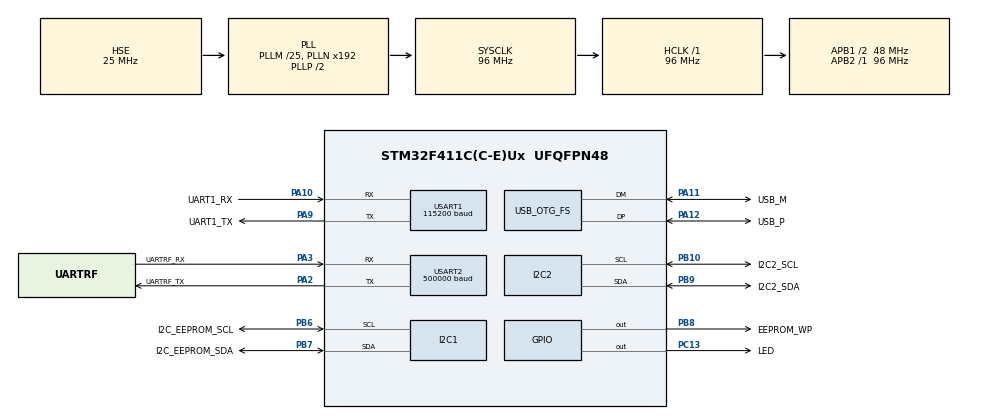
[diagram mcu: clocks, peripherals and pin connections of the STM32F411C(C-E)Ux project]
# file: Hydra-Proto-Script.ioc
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Dma.Request0=USART1_RX
Dma.Request1=USART1_TX
Dma.Request2=USART2_TX
Dma.Request3=USART2_RX
Dma.USART1_RX.0.Direction=DMA_PERIPH_TO_MEMORY
Dma.USART1_RX.0.FIFOMode=DMA_FIFOMODE_DISABLE
Dma.USART1_RX.0.Instance=DMA2_Stream2
Dma.USART1_RX.0.MemDataAlignment=DMA_MDATAALIGN_BYTE
Dma.USART1_RX.0.MemInc=DMA_MINC_ENABLE
Dma.USART1_RX.0.Mode=DMA_CIRCULAR
Dma.USART1_RX.0.PeriphDataAlignment=DMA_PDATAALIGN_BYTE
Dma.USART1_RX.0.PeriphInc=DMA_PINC_DISABLE
Dma.USART1_RX.0.Priority=DMA_PRIORITY_LOW
Dma.USART1_TX.1.Direction=DMA_MEMORY_TO_PERIPH
Dma.USART1_TX.1.FIFOMode=DMA_FIFOMODE_DISABLE
Dma.USART1_TX.1.Instance=DMA2_Stream7
Dma.USART1_TX.1.MemDataAlignment=DMA_MDATAALIGN_BYTE
Dma.USART1_TX.1.MemInc=DMA_MINC_ENABLE
Dma.USART1_TX.1.Mode=DMA_NORMAL
Dma.USART1_TX.1.PeriphDataAlignment=DMA_PDATAALIGN_BYTE
Dma.USART1_TX.1.PeriphInc=DMA_PINC_DISABLE
Dma.USART1_TX.1.Priority=DMA_PRIORITY_LOW
Dma.USART2_RX.3.Direction=DMA_PERIPH_TO_MEMORY
Dma.USART2_RX.3.FIFOMode=DMA_FIFOMODE_DISABLE
Dma.USART2_RX.3.Instance=DMA1_Stream5
Dma.USART2_RX.3.MemDataAlignment=DMA_MDATAALIGN_BYTE
Dma.USART2_RX.3.MemInc=DMA_MINC_ENABLE
Dma.USART2_RX.3.Mode=DMA_CIRCULAR
Dma.USART2_RX.3.PeriphDataAlignment=DMA_PDATAALIGN_BYTE
Dma.USART2_RX.3.PeriphInc=DMA_PINC_DISABLE
Dma.USART2_RX.3.Priority=DMA_PRIORITY_LOW
Dma.USART2_TX.2.Direction=DMA_MEMORY_TO_PERIPH
Dma.USART2_TX.2.FIFOMode=DMA_FIFOMODE_DISABLE
Dma.USART2_TX.2.Instance=DMA1_Stream6
Dma.USART2_TX.2.MemDataAlignment=DMA_MDATAALIGN_BYTE
Dma.USART2_TX.2.MemInc=DMA_MINC_ENABLE
Dma.USART2_TX.2.Mode=DMA_NORMAL
Dma.USART2_TX.2.PeriphDataAlignment=DMA_PDATAALIGN_BYTE
Dma.USART2_TX.2.PeriphInc=DMA_PINC_DISABLE
Dma.USART2_TX.2.Priority=DMA_PRIORITY_LOW
Mcu.Family=STM32F4
Mcu.Name=STM32F411C(C-E)Ux
Mcu.Package=UFQFPN48
NVIC.DMA1_Stream5_IRQn=true\:0\:0\:false\:false\:true\:false\:true\:true
NVIC.DMA1_Stream6_IRQn=true\:0\:0\:false\:false\:true\:false\:true\:true
NVIC.DMA2_Stream2_IRQn=true\:5\:0\:true\:false\:true\:false\:true\:true
NVIC.DMA2_Stream7_IRQn=true\:5\:0\:true\:false\:true\:false\:true\:true
NVIC.OTG_FS_IRQn=true\:5\:0\:true\:false\:true\:false\:true\:true
NVIC.PriorityGroup=NVIC_PRIORITYGROUP_4
NVIC.TIM2_IRQn=true\:15\:0\:false\:false\:true\:false\:true\:true
NVIC.TimeBase=TIM2_IRQn
NVIC.TimeBaseIP=TIM2
NVIC.USART1_IRQn=true\:6\:0\:true\:false\:true\:true\:true\:true
NVIC.USART2_IRQn=true\:6\:0\:true\:false\:true\:true\:true\:true
PA10.GPIO_Label=UART1_RX
PA10.Mode=Asynchronous
PA10.Signal=USART1_RX
PA11.GPIO_Label=USB_M
PA11.Mode=Device_Only
PA11.Signal=USB_OTG_FS_DM
PA12.GPIO_Label=USB_P
PA12.Mode=Device_Only
PA12.Signal=USB_OTG_FS_DP
PA2.GPIO_Label=UARTRF_TX
PA2.Mode=Asynchronous
PA2.Signal=USART2_TX
PA3.GPIO_Label=UARTRF_RX
PA3.Mode=Asynchronous
PA3.Signal=USART2_RX
PA9.GPIO_Label=UART1_TX
PA9.Mode=Asynchronous
PA9.Signal=USART1_TX
PB10.GPIO_Label=I2C2_SCL
PB10.Mode=I2C
PB10.Signal=I2C2_SCL
PB6.GPIO_Label=I2C_EEPROM_SCL
PB6.Mode=I2C
PB6.Signal=I2C1_SCL
PB7.GPIO_Label=I2C_EEPROM_SDA
PB7.Mode=I2C
PB7.Signal=I2C1_SDA
PB8.GPIO_Label=EEPROM_WP
PB8.Signal=GPIO_Output
PB9.GPIO_Label=I2C2_SDA
PB9.Mode=I2C
PB9.Signal=I2C2_SDA
PC13-ANTI_TAMP.GPIO_Label=LED
PC13-ANTI_TAMP.Signal=GPIO_Output
PH0\ -\ OSC_IN.Mode=HSE-External-Oscillator
PH0\ -\ OSC_IN.Signal=RCC_OSC_IN
PH1\ -\ OSC_OUT.Mode=HSE-External-Oscillator
PH1\ -\ OSC_OUT.Signal=RCC_OSC_OUT
ProjectManager.HeapSize=0x200
ProjectManager.StackSize=0x400
ProjectManager.TargetToolchain=STM32CubeIDE
RCC.48MHZClocksFreq_Value=48000000
RCC.AHBFreq_Value=96000000
RCC.APB1CLKDivider=RCC_HCLK_DIV2
RCC.APB1Freq_Value=48000000
RCC.APB1TimFreq_Value=96000000
RCC.APB2Freq_Value=96000000
RCC.APB2TimFreq_Value=96000000
RCC.CortexFreq_Value=96000000
RCC.HCLKFreq_Value=96000000
RCC.HSE_VALUE=25000000
RCC.HSI_VALUE=16000000
RCC.LSE_VALUE=32768
RCC.PLLM=25
RCC.SYSCLKFreq_VALUE=96000000
RCC.SYSCLKSource=RCC_SYSCLKSOURCE_PLLCLK
RCC.VCOOutputFreq_Value=192000000
TIM5.Prescaler=95
USART1.BaudRate=115200
USART1.VirtualMode=VM_ASYNC
USART2.BaudRate=500000
USART2.VirtualMode=VM_ASYNC
USB_DEVICE.CLASS_NAME_FS=CDC
USB_DEVICE.PRODUCT_STRING_CDC_FS=Pleiades-Node
USB_DEVICE.VirtualMode=Cdc
USB_DEVICE.VirtualModeFS=Cdc_FS
USB_OTG_FS.VirtualMode=Device_Only
VP_SYS_VS_tim2.Mode=TIM2
VP_TIM5_VS_ClockSourceINT.Mode=Internal
VP_USB_DEVICE_VS_USB_DEVICE_CDC_FS.Mode=CDC_FS
board=custom

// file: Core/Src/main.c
/* USER CODE BEGIN Header */
/**
  ******************************************************************************
  * @file           : main.c
  * @brief          : Main program body
  ******************************************************************************
  * @attention
  *
  * Copyright (c) 2026 STMicroelectronics.
  * All rights reserved.
  *
  * This software is licensed under terms that can be found in the LICENSE file
  * in the root directory of this software component.
  * If no LICENSE file comes with this software, it is provided AS-IS.
  *
  ******************************************************************************
  */
/* USER CODE END Header */
#include "main.h"
#include "usb_device.h"

/* USER CODE BEGIN Includes */
#include "FreeRTOS.h"
#include "task.h"
#include "queue.h"
#include "usb_cdc_wrapper.h"
#include "uart_wrapper_stream.h"
/* USER CODE END Includes */

/* USER CODE BEGIN PD */

#define PCKT_SIZE_U32 1
#define PCKT_COUNT 1024
#define U32_SIZE 4

/* USER CODE END PD */

I2C_HandleTypeDef hi2c1;
I2C_HandleTypeDef hi2c2;

TIM_HandleTypeDef htim5;

UART_HandleTypeDef huart1;
UART_HandleTypeDef huart2;
DMA_HandleTypeDef hdma_usart1_rx;
DMA_HandleTypeDef hdma_usart1_tx;
DMA_HandleTypeDef hdma_usart2_tx;
DMA_HandleTypeDef hdma_usart2_rx;

/* USER CODE BEGIN PV */
wUSBD usb;
extern USBD_HandleTypeDef hUsbDeviceFS;
TaskHandle_t ProcessTask;
wUART wuart2;
uint8_t n = 0;
/* USER CODE END PV */

void SystemClock_Config(void);
static void MX_GPIO_Init(void);
static void MX_DMA_Init(void);
static void MX_USART1_UART_Init(void);
static void MX_I2C1_Init(void);
static void MX_USART2_UART_Init(void);
static void MX_I2C2_Init(void);
static void MX_TIM5_Init(void);
/* USER CODE BEGIN PFP */

void ProcessTaskNotify(void)
{
  BaseType_t xHigherPriorityTaskWoken = pdFALSE;
  vTaskNotifyGiveFromISR(ProcessTask, &xHigherPriorityTaskWoken);
}

void Process(void*)
{
  uint8_t num_buf[PCKT_SIZE_U32 * U32_SIZE];
  uint32_t pckt_cnt = 0;
  uint32_t num = 0;
  uint32_t num_rec;
  uint32_t errs = 0;
  uint32_t errs_rc = 0;

  uint32_t dummy;

  static uint32_t trans_timestamp[PCKT_COUNT];
  static uint32_t err_timestamp[PCKT_COUNT];
  static uint32_t trans_rc_timestamp[PCKT_COUNT];
  static uint32_t err_rc_timestamp[PCKT_COUNT];
  uint32_t in_trans = 0;
  uint32_t in_err = 0;
  uint32_t in_rc_trans = 0;
  uint32_t in_rc_err = 0;
  memset(trans_timestamp, 0, PCKT_COUNT * U32_SIZE);
  memset(err_timestamp, 0, PCKT_COUNT * U32_SIZE);

  HAL_TIM_Base_Start(&htim5);
  wUART_SetDRCallback(&wuart2, ProcessTaskNotify);
  USB_SetDRCallback(&usb, ProcessTaskNotify);
  wUART_OpenRXDMA(&wuart2);

  while(1)
    {
      ulTaskNotifyTake(pdFALSE, portMAX_DELAY);

      HAL_GPIO_TogglePin(LED_GPIO_Port, LED_Pin);

      while(FIFO_GetCount(&wuart2._rx_fifo) >= PCKT_SIZE_U32 * U32_SIZE)
	{
	  uint32_t us_tick = htim5.Instance->CNT;

	  pckt_cnt = wUART_ReadRXFIFO(&wuart2, num_buf, PCKT_SIZE_U32 * U32_SIZE);

	  USB_WriteTX(&usb, num_buf, pckt_cnt);

	  memcpy(&num_rec, num_buf, U32_SIZE);

	  if(num_rec != num)
	    {
	      errs += (num_rec - num);
	      err_timestamp[in_err] = us_tick;
	      in_err++;
	    }

	  num = num_rec + 1;
	  trans_timestamp[in_trans] = us_tick;
	  in_trans++;
	  if(in_trans == PCKT_COUNT) break;
	}

      if(FIFO_GetCount(&usb._rx_fifo) >= U32_SIZE)
	{
	  USB_ReadRXFIFO(&usb, num_buf, U32_SIZE);
	  memcpy(&dummy, num_buf, U32_SIZE);
	  if(dummy == 0xFFFFFFFF)
	    {
	      FIFO_Discard(&wuart2._rx_fifo, FIFO_GetCount(&wuart2._rx_fifo));
	      wUART_WriteTX(&wuart2, (uint8_t*)(&dummy), U32_SIZE);
	      break;
	    }
	}

      if(dummy == 0xFFFFFFFF) break;

      if(in_trans == PCKT_COUNT) break;

    }

  ulTaskNotifyTake(pdTRUE, 0);

  while(FIFO_GetCount(&wuart2._rx_fifo) < U32_SIZE)
    {
      ulTaskNotifyTake(pdTRUE, portMAX_DELAY);
    }

  wUART_ReadRXFIFO(&wuart2, (uint8_t*)&errs_rc, U32_SIZE);

  while(1)
    {
      if(in_rc_trans < PCKT_COUNT * U32_SIZE)
	{
	  if(FIFO_GetCount(&wuart2._rx_fifo) == 0) continue;
	  in_rc_trans += wUART_ReadRXFIFO(&wuart2, (uint8_t*)trans_rc_timestamp + in_rc_trans, PCKT_COUNT * U32_SIZE-in_rc_trans);
	  vTaskDelay(pdMS_TO_TICKS(20));
	}
      else if(in_rc_err < PCKT_COUNT * U32_SIZE && in_rc_trans == PCKT_COUNT * U32_SIZE)
	{
	  if(FIFO_GetCount(&wuart2._rx_fifo) == 0) continue;
	  in_rc_err += wUART_ReadRXFIFO(&wuart2, (uint8_t*)err_rc_timestamp + in_rc_err, PCKT_COUNT * U32_SIZE-in_rc_err);
	  vTaskDelay(pdMS_TO_TICKS(20));
	}
      else if(in_rc_err == PCKT_COUNT * U32_SIZE && in_rc_trans == PCKT_COUNT * U32_SIZE)
	{
	  break;
	}
    }

  while(FIFO_GetCount(&usb._rx_fifo) == 0)
    {
      vTaskDelay(pdMS_TO_TICKS(10));
    }

  USB_WriteTX(&usb, (uint8_t*)&errs, U32_SIZE);
  USB_WriteTX(&usb, (uint8_t*)&errs_rc, U32_SIZE);

  for(int i = 0; i < (PCKT_COUNT * U32_SIZE) / 256; i++)
    {
      USB_WriteTX(&usb, (uint8_t*)trans_timestamp + i*256, 256);
      vTaskDelay(pdMS_TO_TICKS(10));
    }

  for(int i = 0; i < (PCKT_COUNT * U32_SIZE) / 256; i++)
    {
      USB_WriteTX(&usb, (uint8_t*)err_timestamp + i*256, 256);
      vTaskDelay(pdMS_TO_TICKS(10));
    }

  for(int i = 0; i < (PCKT_COUNT * U32_SIZE) / 256; i++)
    {
      USB_WriteTX(&usb, (uint8_t*)trans_rc_timestamp + i*256, 256);
      vTaskDelay(pdMS_TO_TICKS(10));
    }

  for(int i = 0; i < (PCKT_COUNT * U32_SIZE) / 256; i++)
    {
      USB_WriteTX(&usb, (uint8_t*)err_rc_timestamp + i*256, 256);
      vTaskDelay(pdMS_TO_TICKS(10));
    }

  while(1)
    {
      HAL_GPIO_TogglePin(LED_GPIO_Port, LED_Pin);
      vTaskDelay(pdMS_TO_TICKS(500));
    }

}

/* USER CODE END PFP */

int main(void)
{

  /* MCU Configuration--------------------------------------------------------*/

  /* Reset of all peripherals, Initializes the Flash interface and the Systick. */
  HAL_Init();

  /* Configure the system clock */
  SystemClock_Config();

  /* Initialize all configured peripherals */
  MX_GPIO_Init();
  MX_DMA_Init();
  MX_USART1_UART_Init();
  MX_USB_DEVICE_Init();
  MX_I2C1_Init();
  MX_USART2_UART_Init();
  MX_I2C2_Init();
  MX_TIM5_Init();
  /* USER CODE BEGIN 2 */

  USB_Init(&usb, &hUsbDeviceFS);

  wUART_Init(&wuart2, &huart2);

  xTaskCreate(Process, "Process USB", 4096, NULL, 1, &ProcessTask);

  vTaskStartScheduler();

  /* USER CODE END 2 */

  /* Infinite loop */
  while (1)
  {

  }
}

void SystemClock_Config(void)
{
  RCC_OscInitTypeDef RCC_OscInitStruct = {0};
  RCC_ClkInitTypeDef RCC_ClkInitStruct = {0};

  /** Configure the main internal regulator output voltage
  */
  __HAL_RCC_PWR_CLK_ENABLE();
  __HAL_PWR_VOLTAGESCALING_CONFIG(PWR_REGULATOR_VOLTAGE_SCALE1);

  /** Initializes the RCC Oscillators according to the specified parameters
  * in the RCC_OscInitTypeDef structure.
  */
  RCC_OscInitStruct.OscillatorType = RCC_OSCILLATORTYPE_HSE;
  RCC_OscInitStruct.HSEState = RCC_HSE_ON;
  RCC_OscInitStruct.PLL.PLLState = RCC_PLL_ON;
  RCC_OscInitStruct.PLL.PLLSource = RCC_PLLSOURCE_HSE;
  RCC_OscInitStruct.PLL.PLLM = 25;
  RCC_OscInitStruct.PLL.PLLN = 192;
  RCC_OscInitStruct.PLL.PLLP = RCC_PLLP_DIV2;
  RCC_OscInitStruct.PLL.PLLQ = 4;
  if (HAL_RCC_OscConfig(&RCC_OscInitStruct) != HAL_OK)
  {
    Error_Handler();
  }

  /** Initializes the CPU, AHB and APB buses clocks
  */
  RCC_ClkInitStruct.ClockType = RCC_CLOCKTYPE_HCLK|RCC_CLOCKTYPE_SYSCLK
                              |RCC_CLOCKTYPE_PCLK1|RCC_CLOCKTYPE_PCLK2;
  RCC_ClkInitStruct.SYSCLKSource = RCC_SYSCLKSOURCE_PLLCLK;
  RCC_ClkInitStruct.AHBCLKDivider = RCC_SYSCLK_DIV1;
  RCC_ClkInitStruct.APB1CLKDivider = RCC_HCLK_DIV2;
  RCC_ClkInitStruct.APB2CLKDivider = RCC_HCLK_DIV1;

  if (HAL_RCC_ClockConfig(&RCC_ClkInitStruct, FLASH_LATENCY_3) != HAL_OK)
  {
    Error_Handler();
  }
}

static void MX_I2C1_Init(void)
{

  hi2c1.Instance = I2C1;
  hi2c1.Init.ClockSpeed = 100000;
  hi2c1.Init.DutyCycle = I2C_DUTYCYCLE_2;
  hi2c1.Init.OwnAddress1 = 0;
  hi2c1.Init.AddressingMode = I2C_ADDRESSINGMODE_7BIT;
  hi2c1.Init.DualAddressMode = I2C_DUALADDRESS_DISABLE;
  hi2c1.Init.OwnAddress2 = 0;
  hi2c1.Init.GeneralCallMode = I2C_GENERALCALL_DISABLE;
  hi2c1.Init.NoStretchMode = I2C_NOSTRETCH_DISABLE;
  if (HAL_I2C_Init(&hi2c1) != HAL_OK)
  {
    Error_Handler();
  }

}

static void MX_I2C2_Init(void)
{

  hi2c2.Instance = I2C2;
  hi2c2.Init.ClockSpeed = 100000;
  hi2c2.Init.DutyCycle = I2C_DUTYCYCLE_2;
  hi2c2.Init.OwnAddress1 = 0;
  hi2c2.Init.AddressingMode = I2C_ADDRESSINGMODE_7BIT;
  hi2c2.Init.DualAddressMode = I2C_DUALADDRESS_DISABLE;
  hi2c2.Init.OwnAddress2 = 0;
  hi2c2.Init.GeneralCallMode = I2C_GENERALCALL_DISABLE;
  hi2c2.Init.NoStretchMode = I2C_NOSTRETCH_DISABLE;
  if (HAL_I2C_Init(&hi2c2) != HAL_OK)
  {
    Error_Handler();
  }

}

static void MX_TIM5_Init(void)
{

  TIM_ClockConfigTypeDef sClockSourceConfig = {0};
  TIM_MasterConfigTypeDef sMasterConfig = {0};

  htim5.Instance = TIM5;
  htim5.Init.Prescaler = 95;
  htim5.Init.CounterMode = TIM_COUNTERMODE_UP;
  htim5.Init.Period = 4294967295;
  htim5.Init.ClockDivision = TIM_CLOCKDIVISION_DIV1;
  htim5.Init.AutoReloadPreload = TIM_AUTORELOAD_PRELOAD_DISABLE;
  if (HAL_TIM_Base_Init(&htim5) != HAL_OK)
  {
    Error_Handler();
  }
  sClockSourceConfig.ClockSource = TIM_CLOCKSOURCE_INTERNAL;
  if (HAL_TIM_ConfigClockSource(&htim5, &sClockSourceConfig) != HAL_OK)
  {
    Error_Handler();
  }
  sMasterConfig.MasterOutputTrigger = TIM_TRGO_RESET;
  sMasterConfig.MasterSlaveMode = TIM_MASTERSLAVEMODE_DISABLE;
  if (HAL_TIMEx_MasterConfigSynchronization(&htim5, &sMasterConfig) != HAL_OK)
  {
    Error_Handler();
  }

}

static void MX_USART1_UART_Init(void)
{

  huart1.Instance = USART1;
  huart1.Init.BaudRate = 115200;
  huart1.Init.WordLength = UART_WORDLENGTH_8B;
  huart1.Init.StopBits = UART_STOPBITS_1;
  huart1.Init.Parity = UART_PARITY_NONE;
  huart1.Init.Mode = UART_MODE_TX_RX;
  huart1.Init.HwFlowCtl = UART_HWCONTROL_NONE;
  huart1.Init.OverSampling = UART_OVERSAMPLING_16;
  if (HAL_UART_Init(&huart1) != HAL_OK)
  {
    Error_Handler();
  }

}

static void MX_USART2_UART_Init(void)
{

  huart2.Instance = USART2;
  huart2.Init.BaudRate = 500000;
  huart2.Init.WordLength = UART_WORDLENGTH_8B;
  huart2.Init.StopBits = UART_STOPBITS_1;
  huart2.Init.Parity = UART_PARITY_NONE;
  huart2.Init.Mode = UART_MODE_TX_RX;
  huart2.Init.HwFlowCtl = UART_HWCONTROL_NONE;
  huart2.Init.OverSampling = UART_OVERSAMPLING_16;
  if (HAL_UART_Init(&huart2) != HAL_OK)
  {
    Error_Handler();
  }

}

static void MX_DMA_Init(void)
{

  /* DMA controller clock enable */
  __HAL_RCC_DMA2_CLK_ENABLE();
  __HAL_RCC_DMA1_CLK_ENABLE();

  /* DMA interrupt init */
  /* DMA1_Stream5_IRQn interrupt configuration */
  HAL_NVIC_SetPriority(DMA1_Stream5_IRQn, 0, 0);
  HAL_NVIC_EnableIRQ(DMA1_Stream5_IRQn);
  /* DMA1_Stream6_IRQn interrupt configuration */
  HAL_NVIC_SetPriority(DMA1_Stream6_IRQn, 0, 0);
  HAL_NVIC_EnableIRQ(DMA1_Stream6_IRQn);
  /* DMA2_Stream2_IRQn interrupt configuration */
  HAL_NVIC_SetPriority(DMA2_Stream2_IRQn, 5, 0);
  HAL_NVIC_EnableIRQ(DMA2_Stream2_IRQn);
  /* DMA2_Stream7_IRQn interrupt configuration */
  HAL_NVIC_SetPriority(DMA2_Stream7_IRQn, 5, 0);
  HAL_NVIC_EnableIRQ(DMA2_Stream7_IRQn);

}

static void MX_GPIO_Init(void)
{
  GPIO_InitTypeDef GPIO_InitStruct = {0};

  /* GPIO Ports Clock Enable */
  __HAL_RCC_GPIOC_CLK_ENABLE();
  __HAL_RCC_GPIOH_CLK_ENABLE();
  __HAL_RCC_GPIOA_CLK_ENABLE();
  __HAL_RCC_GPIOB_CLK_ENABLE();

  /*Configure GPIO pin Output Level */
  HAL_GPIO_WritePin(LED_GPIO_Port, LED_Pin, GPIO_PIN_RESET);

  /*Configure GPIO pin Output Level */
  HAL_GPIO_WritePin(EEPROM_WP_GPIO_Port, EEPROM_WP_Pin, GPIO_PIN_RESET);

  /*Configure GPIO pin : LED_Pin */
  GPIO_InitStruct.Pin = LED_Pin;
  GPIO_InitStruct.Mode = GPIO_MODE_OUTPUT_PP;
  GPIO_InitStruct.Pull = GPIO_NOPULL;
  GPIO_InitStruct.Speed = GPIO_SPEED_FREQ_LOW;
  HAL_GPIO_Init(LED_GPIO_Port, &GPIO_InitStruct);

  /*Configure GPIO pin : EEPROM_WP_Pin */
  GPIO_InitStruct.Pin = EEPROM_WP_Pin;
  GPIO_InitStruct.Mode = GPIO_MODE_OUTPUT_PP;
  GPIO_InitStruct.Pull = GPIO_NOPULL;
  GPIO_InitStruct.Speed = GPIO_SPEED_FREQ_LOW;
  HAL_GPIO_Init(EEPROM_WP_GPIO_Port, &GPIO_InitStruct);

}

void HAL_TIM_PeriodElapsedCallback(TIM_HandleTypeDef *htim)
{
  if (htim->Instance == TIM2) {
    HAL_IncTick();
  }
}

void Error_Handler(void)
{
  __disable_irq();
  while (1)
  {
  }
}
